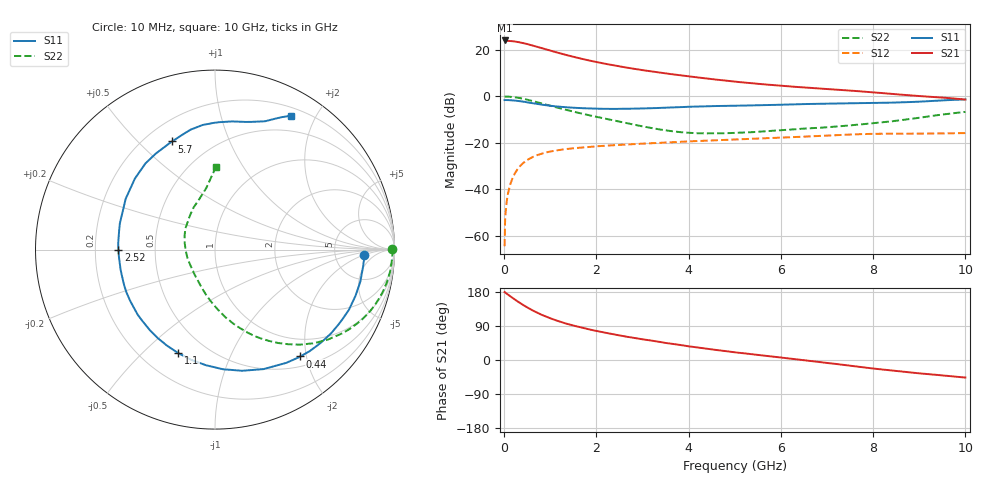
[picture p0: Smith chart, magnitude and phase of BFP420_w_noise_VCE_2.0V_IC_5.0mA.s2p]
! Infineon Technologies  Discrete & RF Semiconductors
! BFP420
! VCE =  2.0 V,  IC =  5.0 mA
! Common Emitter S-Parameters:  Jan 2016
# GHz  S  MA  R  50
!  f  S11  S21  S12  S22
! GHz  MAG  ANG  MAG  ANG  MAG  ANG  MAG  ANG
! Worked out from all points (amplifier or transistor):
!   233 points, 10 MHz to 10 GHz, reference 50 ohm
!   highest |S21| = 24.0 dB at 10 MHz (marker M1)
!   |S21| within 3 dB of that: start of sweep to 764.1 MHz
!   unconditionally stable (mu >= 1): 2.992 GHz to end of sweep
!   at 200 MHz: K = 0.07, MSG = 29.0 dB, |S12| = -34.3 dB
!   at 1.74 GHz: K = 0.61, MSG = 18.9 dB, |S12| = -21.9 dB
!   at 10 GHz: K = 1.12, MAG = 5.1 dB, |S12| = -15.8 dB
!   lowest NFmin = 0.66 dB at 900 MHz
!   S11 on the Smith chart (normalised r, x): 10 MHz: 10, -2; 440 MHz: 0.67, -1.89; 1.1 GHz: 0.35, -0.65; 2.52 GHz: 0.30, -0.00; 5.7 GHz: 0.31, +0.64; 10 GHz: 0.30, +1.68
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0.01  0.8302 -2.0  15.89 179.3  0.0006 116.7  0.985 0.1
0.02  0.8337 -2.5  15.52 178.4  0.002 86.2  0.9884 -1.4
0.06  0.8297 -7.3  15.55 174.5  0.0059 86.3  0.9864 -4.2
0.15  0.8241 -18.2  15.43 166.7  0.0145 80.6  0.9749 -10.8
0.24  0.8088 -28.9  15.01 158.9  0.0227 75.1  0.9517 -17.1
0.34  0.7872 -40.4  14.46 150.8  0.0312 69.4  0.9168 -23.8
0.44  0.7614 -51.4  13.76 143.1  0.0387 64.1  0.8751 -29.9
0.6  0.7187 -67.9  12.53 131.8  0.0486 56.6  0.8015 -38.9
0.7  0.6918 -77.4  11.76 125.6  0.0537 52.7  0.7549 -43.8
0.9  0.6461 -94.5  10.29 114.7  0.0618 46.2  0.6676 -52.2
1.1  0.6118 -109.6  9.023 105.6  0.0678 41.2  0.5911 -59.4
1.38  0.5786 -127.8  7.59 94.9  0.0741 35.9  0.5016 -68.1
1.68  0.5569 -144.1  6.423 85.4  0.0794 31.8  0.4259 -76.0
2.02  0.5424 -159.6  5.417 76.2  0.0844 28.4  0.3589 -83.8
2.52  0.538 -179.8  4.371 64.5  0.0906 24.3  0.2811 -96.1
3.4  0.5653 153.0  3.211 47.2  0.1004 19.0  0.1922 -121.8
4  0.5966 138.4  2.688 36.1  0.1073 15.7  0.1644 -144.7
5.1  0.6304 120.1  2.025 19.0  0.1191 9.8  0.1647 178.5
5.7  0.6482 111.6  1.787 10.7  0.1255 6.8  0.1772 162.4
6.8  0.6905 98.0  1.479 -4.8  0.1405 0.3  0.21 138.6
8.4  0.7315 76.5  1.129 -27.8  0.1569 -13.7  0.29 108.4
10  0.8587 60.4  0.853 -46.4  0.1621 -23.4  0.4629 89.2
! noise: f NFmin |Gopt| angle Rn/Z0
0.9  0.66  0.21  31  0.15
1.8  1.05  0.09  93  0.13
2.4  1.14  0.14  119  0.13
3  1.24  0.17  165  0.11
4  1.41  0.31  -145  0.12
5  1.85  0.38  -119  0.21
6  2.3  0.45  -101  0.36
